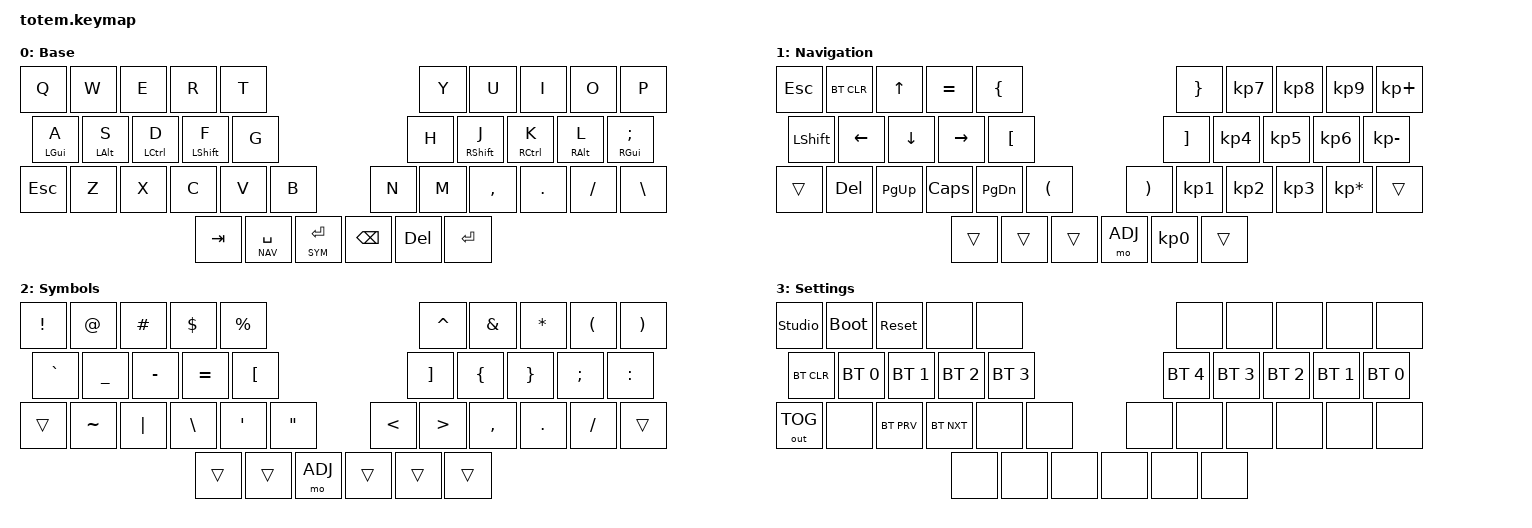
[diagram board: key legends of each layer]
#include <behaviors.dtsi>
#include <dt-bindings/zmk/bt.h>
#include <dt-bindings/zmk/keys.h>
#include <dt-bindings/zmk/outputs.h>

#define BASE 0
#define NAV  1
#define SYM  2
#define ADJ  3

/ {
    keymap {
        compatible = "zmk,keymap";

        base_layer {
            display-name = "Base";
            bindings = <
                &kp Q &kp W &kp E &kp R &kp T             &kp Y &kp U &kp I &kp O &kp P
                &mt LGUI A &mt LALT S &mt LCTRL D &mt LSHFT F &kp G             &kp H &mt RSHFT J &mt RCTRL K &mt RALT L &mt RGUI SEMI
                &kp ESC &kp Z &kp X &kp C &kp V &kp B     &kp N &kp M &kp COMMA &kp DOT &kp FSLH &kp BSLH
                              &kp TAB &lt NAV SPACE &lt SYM RET     &kp BSPC &kp DEL &kp ENTER
            >;
        };

        nav_layer {
            display-name = "Navigation";
            bindings = <
                &kp ESC &bt BT_CLR &kp UP &kp EQUAL &kp LBRC             &kp RBRC &kp KP_N7 &kp KP_N8 &kp KP_N9 &kp KP_PLUS
                &kp LSHFT &kp LEFT &kp DOWN &kp RIGHT &kp LBKT             &kp RBKT &kp KP_N4 &kp KP_N5 &kp KP_N6 &kp KP_MINUS
                &trans &kp DEL &kp PG_UP &kp CAPS &kp PG_DN &kp LPAR         &kp RPAR &kp KP_N1 &kp KP_N2 &kp KP_N3 &kp KP_MULTIPLY &trans
                                  &trans &trans &trans                     &mo ADJ &kp KP_N0 &trans
            >;
        };

        sym_layer {
            display-name = "Symbols";
            bindings = <
                &kp EXCL &kp AT &kp HASH &kp DLLR &kp PRCNT               &kp CARET &kp AMPS &kp STAR &kp LPAR &kp RPAR
                &kp GRAVE &kp UNDER &kp MINUS &kp EQUAL &kp LBKT           &kp RBKT &kp LBRC &kp RBRC &kp SEMI &kp COLON
                &trans &kp TILDE &kp PIPE &kp BSLH &kp SQT &kp DQT          &kp LESS_THAN &kp GREATER_THAN &kp COMMA &kp DOT &kp FSLH &trans
                                  &trans &trans &mo ADJ                    &trans &trans &trans
            >;
        };

        adjust_layer {
            display-name = "Settings";
            bindings = <
                &studio_unlock &bootloader &sys_reset &none &none          &none &none &none &none &none
                &bt BT_CLR &bt BT_SEL 0 &bt BT_SEL 1 &bt BT_SEL 2 &bt BT_SEL 3  &bt BT_SEL 4 &bt BT_SEL 3 &bt BT_SEL 2 &bt BT_SEL 1 &bt BT_SEL 0
                &out OUT_TOG &none &bt BT_PRV &bt BT_NXT &none &none        &none &none &none &none &none &none
                                  &none &none &none                       &none &none &none
            >;
        };
    };
};
